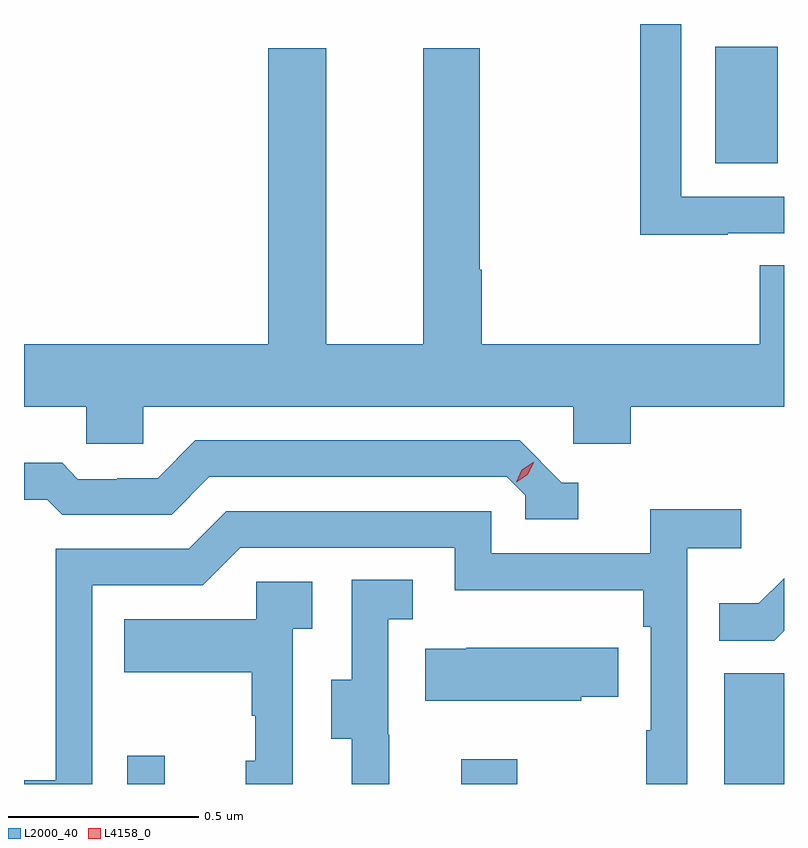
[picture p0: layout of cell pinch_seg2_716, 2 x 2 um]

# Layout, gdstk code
import gdstk
lib = gdstk.Library(unit=1e-6, precision=1e-09)
def R(c, l, rs):  # rectangles x0, y0, x1, y1
    for r in rs: c.add(gdstk.rectangle(r[:2], r[2:], *l))
def P(c, l, *ps):  # polygons
    for p in ps: c.add(gdstk.Polygon(p, *l))
L2000_40 = (2000, 40)
L4158_0 = (4158, 0)

pinch_seg2_716 = lib.new_cell('pinch_seg2_716')
R(pinch_seg2_716, L2000_40, [(1116.375,590.699,1116.473,590.773), (1117.253,590.699,1117.401,590.764), (1117.946,590.699,1118.103,590.991), (1117.922,592.332,1118.086,592.639)])
P(pinch_seg2_716, L2000_40, [(1117.955,592.149),(1118.103,592.149),(1118.103,592.245),(1117.833,592.245),(1117.833,592.699),(1117.725,592.699),(1117.725,592.144),(1117.955,592.144)],
  [(1116.417,591.692),(1117.548,591.692),(1117.548,591.594),(1117.7,591.594),(1117.7,591.692),(1118.103,591.692),(1118.103,592.064),(1118.039,592.064),(1118.039,591.856),(1117.307,591.856),(1117.307,592.052),(1117.302,592.052),(1117.302,592.635),(1117.154,592.635),(1117.154,591.856),(1116.898,591.856),(1116.898,592.635),(1116.746,592.635),(1116.746,591.856),(1116.103,591.856),(1116.103,591.692),(1116.267,591.692),(1116.267,591.594),(1116.417,591.594)],
  [(1117.561,591.492),(1117.518,591.492),(1117.407,591.603),(1116.554,591.603),(1116.455,591.504),(1116.348,591.504),(1116.348,591.501),(1116.245,591.501),(1116.203,591.544),(1116.103,591.544),(1116.103,591.447),(1116.164,591.447),(1116.203,591.408),(1116.492,591.408),(1116.591,591.507),(1117.374,591.507),(1117.422,591.459),(1117.422,591.396),(1117.561,591.396)],
  [(1116.282,591.222),(1116.573,591.222),(1116.672,591.321),(1117.236,591.321),(1117.236,591.209),(1117.732,591.209),(1117.732,591.113),(1117.752,591.113),(1117.752,590.84),(1117.74,590.84),(1117.74,590.699),(1117.848,590.699),(1117.848,591.32),(1117.99,591.32),(1117.99,591.422),(1117.751,591.422),(1117.751,591.306),(1117.332,591.306),(1117.332,591.417),(1116.635,591.417),(1116.536,591.318),(1116.186,591.318),(1116.186,590.709),(1116.103,590.709),(1116.103,590.699),(1116.282,590.699)],
  [(1118.103,591.102),(1118.103,591.241),(1118.037,591.175),(1117.933,591.175),(1117.933,591.076),(1118.077,591.076)],
  [(1117.064,590.829),(1117.062,590.829),(1117.062,591.133),(1117.126,591.133),(1117.126,591.236),(1116.966,591.236),(1116.966,590.973),(1116.911,590.973),(1116.911,590.818),(1116.965,590.818),(1116.965,590.699),(1117.064,590.699)],
  [(1116.81,591.107),(1116.862,591.107),(1116.862,591.231),(1116.714,591.231),(1116.714,591.133),(1116.367,591.133),(1116.367,590.993),(1116.702,590.993),(1116.702,590.879),(1116.712,590.879),(1116.712,590.76),(1116.686,590.76),(1116.686,590.699),(1116.81,590.699)],
  [(1117.569,590.929),(1117.667,590.929),(1117.667,591.058),(1117.267,591.058),(1117.267,591.055),(1117.159,591.055),(1117.159,590.918),(1117.569,590.918)])
P(pinch_seg2_716, L4158_0, [(1117.398,591.493),(1117.398,591.493),(1117.413,591.526),(1117.443,591.546),(1117.444,591.546),(1117.444,591.546),(1117.428,591.513),(1117.398,591.493)])

lib.write_gds('pinch_seg2_716.gds')
